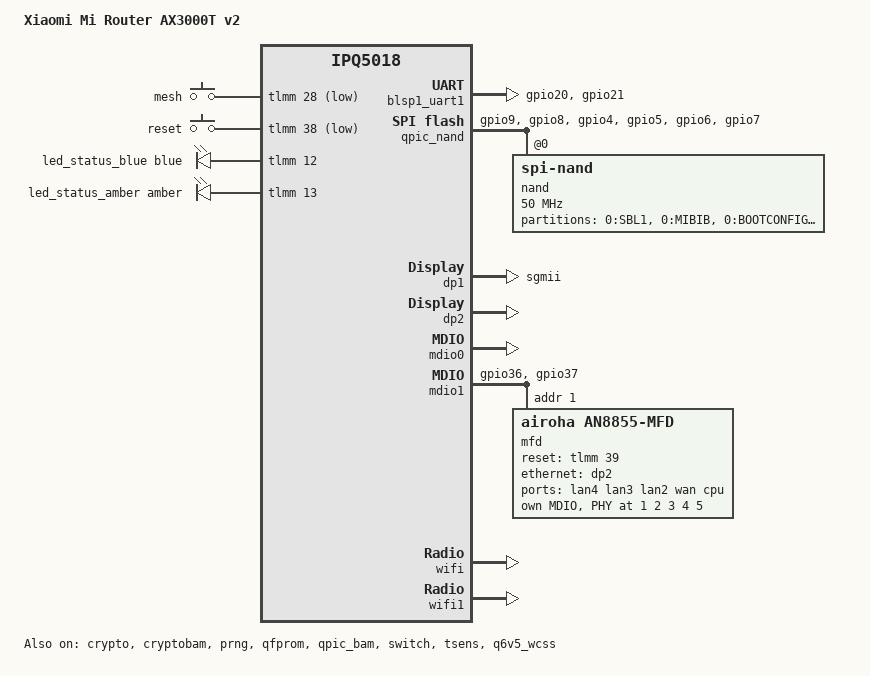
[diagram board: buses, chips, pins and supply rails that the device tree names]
/dts-v1/;

#include "ipq5018.dtsi"
#include "ipq5018-ess.dtsi"
#include "ipq5018-qcn6122.dtsi"

#include <dt-bindings/gpio/gpio.h>
#include <dt-bindings/input/input.h>
#include <dt-bindings/leds/common.h>

/ {
	model = "Xiaomi Mi Router AX3000T v2";
	compatible = "xiaomi,mi-router-ax3000t-v2", "qcom,ipq5018";

	aliases {
		label-mac-device = &dp1;

		led-boot = &led_status_blue;
		led-failsafe = &led_status_amber;
		led-running = &led_status_blue;
		led-upgrade = &led_status_amber;

		serial0 = &blsp1_uart1;
	};

	chosen {
		bootargs-append = " ubi.mtd=rootfs root=/dev/ubiblock0_0 coherent_pool=2M";
		stdout-path = "serial0:115200n8";
	};

	keys {
		compatible = "gpio-keys";

		pinctrl-0 = <&button_pins>;
		pinctrl-names = "default";

		button-0 {
			label = "mesh";
			gpios = <&tlmm 28 GPIO_ACTIVE_LOW>;
			linux,code = <KEY_RESTART>;
			debounce-interval = <60>;
		};

		button-1 {
			label = "reset";
			gpios = <&tlmm 38 GPIO_ACTIVE_LOW>;
			linux,code = <KEY_RESTART>;
			debounce-interval = <60>;
		};
	};

	/*
	 * The stock firmware drives the dual-colour front LED via the
	 * IPQ5018 PWM block (blue = channel 2 on GPIO12/"pwm2", amber =
	 * channel 3 on GPIO13/"pwm3"). Kernel 6.12 pinctrl-ipq5018 cannot
	 * mux pwm2/pwm3 onto GPIO 12/13 yet, so drive them as plain GPIOs.
	 * GPIO46 carries the hardware-driven GE PHY link LED ("led0"
	 * function) which only reflects the internal MAC0<->AN8855 link.
	 */
	leds {
		compatible = "gpio-leds";

		pinctrl-0 = <&leds_pins>;
		pinctrl-names = "default";

		led_status_blue: led-0 {
			color = <LED_COLOR_ID_BLUE>;
			function = LED_FUNCTION_STATUS;
			gpios = <&tlmm 12 GPIO_ACTIVE_HIGH>;
		};

		led_status_amber: led-1 {
			color = <LED_COLOR_ID_AMBER>;
			function = LED_FUNCTION_STATUS;
			gpios = <&tlmm 13 GPIO_ACTIVE_HIGH>;
		};
	};

	reserved-memory {
		q6_mem_regions: q6_mem_regions@4b000000 {
			no-map;
			reg = <0x0 0x4b000000 0x0 0x3000000>;
		};
	};
};

&sleep_clk {
	clock-frequency = <32000>;
};

&xo_board_clk {
	clock-div = <4>;
	clock-mult = <1>;
};

&blsp1_uart1 {
	status = "okay";

	pinctrl-0 = <&serial_0_pins>;
	pinctrl-names = "default";
};

&crypto {
	status = "okay";
};

&cryptobam {
	status = "okay";
};

&prng {
	status = "okay";
};

&qfprom {
	status = "okay";
};

&qpic_bam {
	status = "okay";
};

&qpic_nand {
	pinctrl-0 = <&qpic_pins>;
	pinctrl-names = "default";
	status = "okay";

	nand@0 {
		compatible = "spi-nand";
		reg = <0>;
		#address-cells = <1>;
		#size-cells = <1>;

		nand-bus-width = <8>;

		nand-ecc-engine = <&qpic_nand>;
		nand-ecc-step-size = <512>;
		nand-ecc-strength = <4>;

		spi-max-frequency = <50000000>;

		partitions {
			compatible = "fixed-partitions";
			#address-cells = <1>;
			#size-cells = <1>;

			partition@0 {
				label = "0:SBL1";
				reg = <0x0 0x80000>;
				read-only;
			};

			partition@80000 {
				label = "0:MIBIB";
				reg = <0x80000 0x80000>;
				read-only;
			};

			partition@100000 {
				label = "0:BOOTCONFIG";
				reg = <0x100000 0x40000>;
				read-only;
			};

			partition@140000 {
				label = "0:BOOTCONFIG1";
				reg = <0x140000 0x40000>;
				read-only;
			};

			partition@180000 {
				label = "0:QSEE";
				reg = <0x180000 0x100000>;
				read-only;
			};

			partition@280000 {
				label = "0:QSEE_1";
				reg = <0x280000 0x100000>;
				read-only;
			};

			partition@380000 {
				label = "0:DEVCFG";
				reg = <0x380000 0x40000>;
				read-only;
			};

			partition@3c0000 {
				label = "0:DEVCFG_1";
				reg = <0x3c0000 0x40000>;
				read-only;
			};

			partition@400000 {
				label = "0:CDT";
				reg = <0x400000 0x40000>;
				read-only;
			};

			partition@440000 {
				label = "0:CDT_1";
				reg = <0x440000 0x40000>;
				read-only;
			};

			partition@480000 {
				label = "0:APPSBLENV";
				reg = <0x480000 0x80000>;
			};

			partition@500000 {
				label = "0:APPSBL";
				reg = <0x500000 0x140000>;
				read-only;
			};

			partition@640000 {
				label = "0:APPSBL_1";
				reg = <0x640000 0x140000>;
				read-only;
			};

			partition@780000 {
				label = "0:ART";
				reg = <0x780000 0x100000>;
				read-only;

				nvmem-layout {
					compatible = "fixed-layout";
					#address-cells = <1>;
					#size-cells = <1>;

					mac_addr_wan: macaddr@0 {
						reg = <0x0 0x6>;
					};

					mac_addr_lan: macaddr@6 {
						reg = <0x6 0x6>;
					};

					mac_addr_wlan: macaddr@12 {
						reg = <0x12 0x6>;
					};

					caldata: caldata@1000 {
						reg = <0x1000 0x20000>;
					};
				};
			};

			partition@880000 {
				label = "0:TRAINING";
				reg = <0x880000 0x80000>;
				read-only;
			};

			partition@900000 {
				label = "bdata";
				reg = <0x900000 0x80000>;
			};

			partition@980000 {
				label = "crash";
				reg = <0x980000 0x80000>;
				read-only;
			};

			partition@a00000 {
				label = "crash_syslog";
				reg = <0xa00000 0x80000>;
				read-only;
			};

			partition@a80000 {
				label = "ubi_kernel";
				reg = <0xa80000 0x2400000>;
			};

			partition@2e80000 {
				label = "rootfs";
				reg = <0x2e80000 0x5180000>;
			};
		};
	};
};

/*
* ===============================================================
*     _______________________             _____________________
*    |        IPQ5018        |           |        AN8855       |
*    | +------+   +--------+ |           | +------+   +------+ |
*    | | MAC0 |---| GE Phy |-+--- MDI ---+ | Phy4 |---| Phy0 | |
*    | +------+   +--------+ |           | +------+   | Phy1 | |
*    | +------+   +--------+ |           | +------+   | Phy2 | |
*    | | MAC1 |---| Uniphy |-+-- SGMII+--+ | Phy5 |---| Phy3 | |
*    | +------+   +--------+ |           | +------+   +------+ |
*    |_______________________|           |_____________________|
*
* ===============================================================
*/

&switch {
	status = "okay";

	// TODO: AN8855 supports 2500base-x
	// switch_mac_mode = <MAC_MODE_SGMII_CHANNEL0>;
	// 0xc in stock:
	switch_mac_mode = <MAC_MODE_SGMII_PLUS>;

	qcom,port_phyinfo {
		// MAC0 -> GE Phy --- AN8855 Phy4
		port@0 {
			// Like in stock fw
			port_id = <1>;
			mdiobus = <&mdio0>;
			phy_address = <7>;
			phy_dac = <16 16>;
		};

		// MAC1 -> Uniphy --- SGMII --- AN8855 Phy5
		port@1 {
			port_id = <2>;
			// "2500" in stock fw
			// port_mac_sel = "QGMAC_PORT";
			forced-speed = <2500>;
			forced-duplex = <1>;
		};
	};
};

&dp1 {
	status = "okay";

	nvmem-cells = <&mac_addr_wan 0>;
	nvmem-cell-names = "mac-address";

	phy-mode = "sgmii";
};

// MAC1---SGMII--->AN8855 Phy5
&dp2 {
	status = "okay";

	nvmem-cells = <&mac_addr_lan 0>;
	nvmem-cell-names = "mac-address";

	// "nss-dp 39d00000.dp2: probe with driver nss-dp failed with error -14" without this block
	// "2500":
	// swphy: unknown speed
	// dp2: fail to register fixed-link: -22
	// phy-mode = "sgmii";
	// phy-mode = "2500base-x";

	//fixed-link {
	//	speed = <2500>;
	//	full-duplex;
	//	pause;
	//	asym-pause;
	//};
};

// IPQ5018 GE Phy -> AN8855 Phy4
&ge_phy {
	qcom,dac-preset-short-cable;
};

&mdio0 {
	status = "okay";
};

&mdio1 {
	status = "okay";

	pinctrl-0 = <&mdio1_pins>;
	pinctrl-names = "default";

	mfd: mfd@1 {
		compatible = "airoha,an8855-mfd";
		reg = <1>;

		reset-gpios = <&tlmm 39 GPIO_ACTIVE_HIGH>;
		reset-assert-us = <10000>;
		reset-deassert-us = <50000>;
	};
};

&mfd {
	efuse {
		compatible = "airoha,an8855-efuse";
		#nvmem-cell-cells = <0>;

		nvmem-layout {
			compatible = "fixed-layout";
			#address-cells = <1>;
			#size-cells = <1>;

			shift_sel_port0_tx_a: shift-sel-port0-tx-a@c {
				reg = <0xc 0x4>;
			};

			shift_sel_port0_tx_b: shift-sel-port0-tx-b@10 {
				reg = <0x10 0x4>;
			};

			shift_sel_port0_tx_c: shift-sel-port0-tx-c@14 {
				reg = <0x14 0x4>;
			};

			shift_sel_port0_tx_d: shift-sel-port0-tx-d@18 {
				reg = <0x18 0x4>;
			};

			shift_sel_port1_tx_a: shift-sel-port1-tx-a@1c {
				reg = <0x1c 0x4>;
			};

			shift_sel_port1_tx_b: shift-sel-port1-tx-b@20 {
				reg = <0x20 0x4>;
			};

			shift_sel_port1_tx_c: shift-sel-port1-tx-c@24 {
				reg = <0x24 0x4>;
			};

			shift_sel_port1_tx_d: shift-sel-port1-tx-d@28 {
				reg = <0x28 0x4>;
			};

			shift_sel_port2_tx_a: shift-sel-port2-tx-a@2c {
				reg = <0x2c 0x4>;
			};

			shift_sel_port2_tx_b: shift-sel-port2-tx-b@30 {
				reg = <0x30 0x4>;
			};

			shift_sel_port2_tx_c: shift-sel-port2-tx-c@34 {
				reg = <0x34 0x4>;
			};

			shift_sel_port2_tx_d: shift-sel-port2-tx-d@38 {
				reg = <0x38 0x4>;
			};

			shift_sel_port3_tx_a: shift-sel-port3-tx-a@4c {
				reg = <0x4c 0x4>;
			};

			shift_sel_port3_tx_b: shift-sel-port3-tx-b@50 {
				reg = <0x50 0x4>;
			};

			shift_sel_port3_tx_c: shift-sel-port3-tx-c@54 {
				reg = <0x54 0x4>;
			};

			shift_sel_port3_tx_d: shift-sel-port3-tx-d@58 {
				reg = <0x58 0x4>;
			};

			shift_sel_port4_tx_a: shift-sel-port3-tx-a@5c {
				reg = <0x5c 0x4>;
			};

			shift_sel_port4_tx_b: shift-sel-port3-tx-b@60 {
				reg = <0x60 0x4>;
			};

			shift_sel_port4_tx_c: shift-sel-port3-tx-c@64 {
				reg = <0x64 0x4>;
			};

			shift_sel_port4_tx_d: shift-sel-port3-tx-d@68 {
				reg = <0x68 0x4>;
			};
		};
	};

	ethernet-switch {
		compatible = "airoha,an8855-switch";
		airoha,ext-surge;

		ports {
			#address-cells = <1>;
			#size-cells = <0>;

			port@0 {
				reg = <0>;
				label = "lan4";
				phy-mode = "internal";
				phy-handle = <&internal_phy1>;
			};

			port@1 {
				reg = <1>;
				label = "lan3";
				phy-mode = "internal";
				phy-handle = <&internal_phy2>;
			};

			port@2 {
				reg = <2>;
				label = "lan2";
				phy-mode = "internal";
				phy-handle = <&internal_phy3>;
			};

			port@3 {
				reg = <3>;
				label = "wan";
				phy-mode = "internal";
				phy-handle = <&internal_phy4>;
			};

			// CPU wan in stock fw
			port@4 {
				reg = <4>;
				// label = "cpu";
				// ethernet = <&dp1>;
				phy-mode = "internal";
				phy-handle = <&internal_phy5>;
				status = "disabled";
			};

			// CPU lan in stock fw
			port@5 {
				reg = <5>;
				label = "cpu";
				// phy-mode = "sgmii";
				phy-mode = "2500base-x";
				ethernet = <&dp2>;
				// qca,sgmii-enable-pll;
				// status = "disabled";
				// managed = "in-band-status";

				fixed-link {
					speed = <2500>;
					full-duplex;
					// pause;
					// asym-pause;
				};
			};
		};
	};

	mdio {
		compatible = "airoha,an8855-mdio";
		#address-cells = <1>;
		#size-cells = <0>;

		internal_phy1: phy@1 {
			reg = <1>;

			nvmem-cells = <&shift_sel_port0_tx_a>,
				      <&shift_sel_port0_tx_b>,
				      <&shift_sel_port0_tx_c>,
				      <&shift_sel_port0_tx_d>;
			nvmem-cell-names = "tx_a", "tx_b",
					   "tx_c", "tx_d";
		};

		internal_phy2: phy@2 {
			reg = <2>;

			nvmem-cells = <&shift_sel_port1_tx_a>,
				      <&shift_sel_port1_tx_b>,
				      <&shift_sel_port1_tx_c>,
				      <&shift_sel_port1_tx_d>;
			nvmem-cell-names = "tx_a", "tx_b",
					   "tx_c", "tx_d";
		};

		internal_phy3: phy@3 {
			reg = <3>;

			nvmem-cells = <&shift_sel_port2_tx_a>,
				      <&shift_sel_port2_tx_b>,
				      <&shift_sel_port2_tx_c>,
				      <&shift_sel_port2_tx_d>;
			nvmem-cell-names = "tx_a", "tx_b",
					   "tx_c", "tx_d";
		};

		internal_phy4: phy@4 {
			reg = <4>;

			nvmem-cells = <&shift_sel_port3_tx_a>,
				      <&shift_sel_port3_tx_b>,
				      <&shift_sel_port3_tx_c>,
				      <&shift_sel_port3_tx_d>;

			nvmem-cell-names = "tx_a", "tx_b",
					   "tx_c", "tx_d";
		};

		internal_phy5: phy@5 {
			reg = <5>;

			nvmem-cells = <&shift_sel_port4_tx_a>,
				      <&shift_sel_port4_tx_b>,
				      <&shift_sel_port4_tx_c>,
				      <&shift_sel_port4_tx_d>;

			nvmem-cell-names = "tx_a", "tx_b",
					   "tx_c", "tx_d";
		};
	};
};

&tlmm {
	button_pins: button-state {
		pins = "gpio28", "gpio38";
		function = "gpio";
		drive-strength = <8>;
		bias-pull-up;
	};

	leds_pins: leds-state {
		pins = "gpio12", "gpio13";
		function = "gpio";
		drive-strength = <8>;
		bias-pull-down;
	};

	mdio1_pins: mdio-state {
		mdc-pins {
			pins = "gpio36";
			function = "mdc";
			drive-strength = <8>;
			bias-pull-up;
		};

		mdio-pins {
			pins = "gpio37";
			function = "mdio";
			drive-strength = <8>;
			bias-pull-up;
		};
	};

	qpic_pins: qpic-state {
		clock-pins {
			pins = "gpio9";
			function = "qspi_clk";
			drive-strength = <8>;
			bias-disable;
		};

		cs-pins {
			pins = "gpio8";
			function = "qspi_cs";
			drive-strength = <8>;
			bias-disable;
		};

		data-pins {
			pins = "gpio4", "gpio5", "gpio6", "gpio7";
			function = "qspi_data";
			drive-strength = <8>;
			bias-disable;
		};
	};

	serial_0_pins: uart0-state {
		pins = "gpio20", "gpio21";
		function = "blsp0_uart0";
		bias-disable;
	};
};

&tsens {
	status = "okay";
};

&q6v5_wcss {
	status = "okay";
};

&wifi {
	status = "okay";

	qcom,rproc = <&q6_wcss_pd1>;
	qcom,userpd-subsys-name = "q6v5_wcss_userpd1";
	qcom,ath11k-calibration-variant = "Xiaomi-Mi-Router-AX3000T-v2";
	qcom,ath11k-fw-memory-mode = <1>;
	qcom,bdf-addr = <0x4c400000>;
};

&wifi1 {
	status = "okay";

	// QCN6102 5G
	qcom,rproc = <&q6_wcss_pd2>;
	qcom,userpd-subsys-name = "q6v5_wcss_userpd2";
	qcom,ath11k-calibration-variant = "Xiaomi-Mi-Router-AX3000T-v2";
	qcom,ath11k-fw-memory-mode = <1>;
	qcom,bdf-addr = <0x4d100000>;
	qcom,m3-dump-addr = <0x4df00000>;
};
